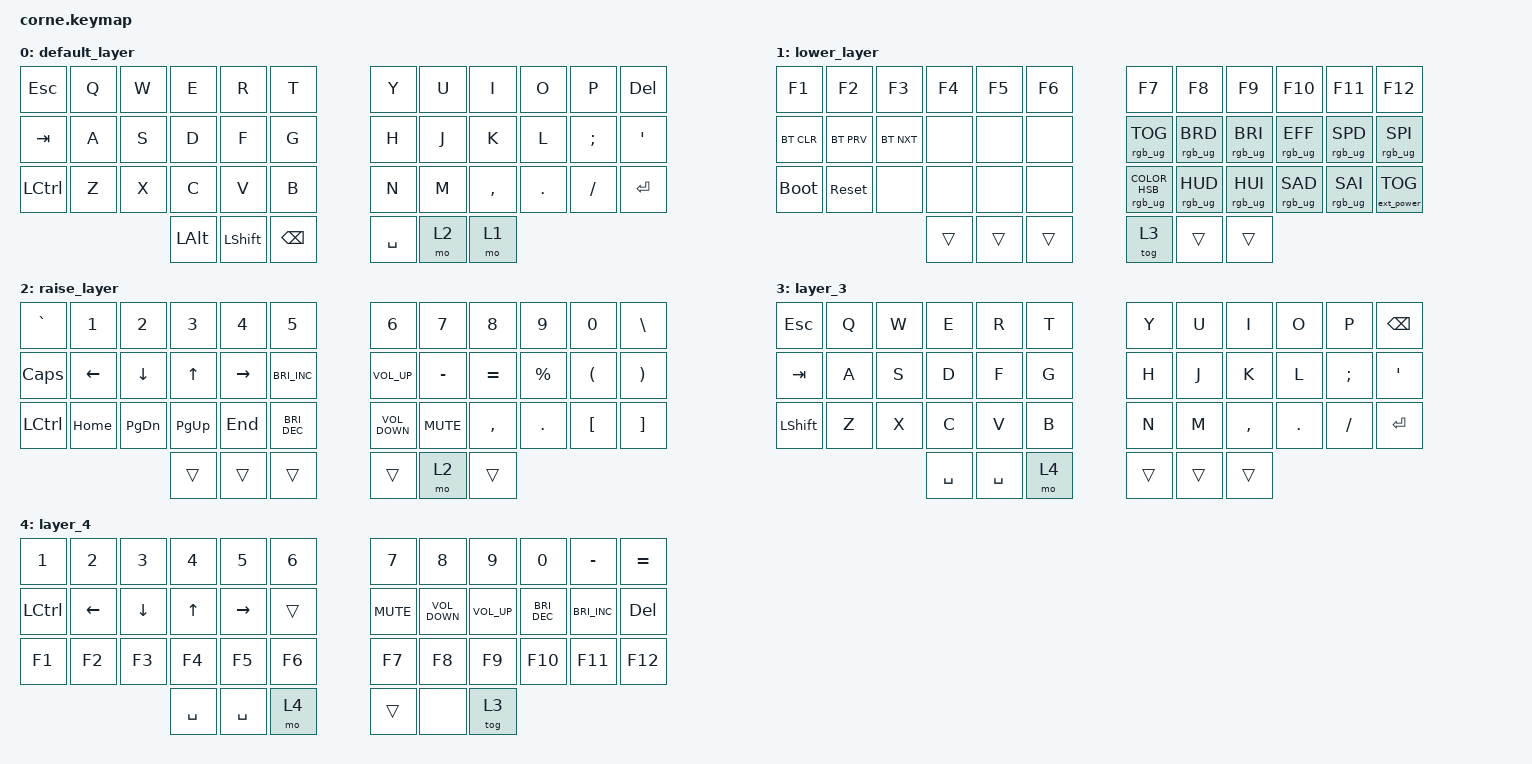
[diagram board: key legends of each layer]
/*
 * Copyright (c) 2020 The ZMK Contributors
 * 
 * SPDX-License-Identifier: MIT
 */

#include <behaviors.dtsi>
#include <dt-bindings/zmk/bt.h>
#include <dt-bindings/zmk/ext_power.h>
#include <dt-bindings/zmk/keys.h>
#include <dt-bindings/zmk/rgb.h>

/ {
    keymap {
        compatible = "zmk,keymap";

        default_layer {
            // -----------------------------------------------------------------------------------------
            // |  TAB |  Q  |  W  |  E  |  R  |  T  |   |  Y  |  U   |  I  |  O  |  P  | BKSP |
            // | CTRL |  A  |  S  |  D  |  F  |  G  |   |  H  |  J   |  K  |  L  |  ;  |  '   |
            // | SHFT |  Z  |  X  |  C  |  V  |  B  |   |  N  |  M   |  ,  |  .  |  /  | ESC  |
            //                    | GUI | LWR | SPC |   | ENT | RSE  | ALT |

            bindings = <
&kp ESCAPE        &kp Q  &kp W  &kp E     &kp R           &kp T            &kp Y      &kp U  &kp I      &kp O    &kp P     &kp DELETE
&kp TAB           &kp A  &kp S  &kp D     &kp F           &kp G            &kp H      &kp J  &kp K      &kp L    &kp SEMI  &kp SQT
&kp LEFT_CONTROL  &kp Z  &kp X  &kp C     &kp V           &kp B            &kp N      &kp M  &kp COMMA  &kp DOT  &kp FSLH  &kp ENTER
                                &kp LALT  &kp LEFT_SHIFT  &kp BACKSPACE    &kp SPACE  &mo 2  &mo 1
            >;
        };

        lower_layer {
            // -----------------------------------------------------------------------------------------
            // |  TAB |  1  |  2  |  3  |  4  |  5  |   |  6  |  7  |  8  |  9  |  0  | BKSP |
            // | BTCLR| BT1 | BT2 | BT3 | BT4 | BT5 |   | LFT | DWN |  UP | RGT |     |      |
            // | SHFT |     |     |     |     |     |   |     |     |     |     |     |      |
            //                    | GUI |     | SPC |   | ENT |     | ALT |

            bindings = <
&kp F1       &kp F2      &kp F3      &kp F4  &kp F5  &kp F6    &kp F7                          &kp F8           &kp F9           &kp F10          &kp F11          &kp F12
&bt BT_CLR   &bt BT_PRV  &bt BT_NXT  &none   &none   &none     &rgb_ug RGB_TOG                 &rgb_ug RGB_BRD  &rgb_ug RGB_BRI  &rgb_ug RGB_EFF  &rgb_ug RGB_SPD  &rgb_ug RGB_SPI
&bootloader  &sys_reset  &none       &none   &none   &none     &rgb_ug RGB_COLOR_HSB(0,91,50)  &rgb_ug RGB_HUD  &rgb_ug RGB_HUI  &rgb_ug RGB_SAD  &rgb_ug RGB_SAI  &ext_power EP_TOG
                                     &trans  &trans  &trans    &tog 3                          &trans           &trans
            >;
        };

        raise_layer {
            // -----------------------------------------------------------------------------------------
            // |  TAB |  !  |  @  |  #  |  $  |  %  |   |  ^  |  &  |  *  |  (  |  )  | BKSP |
            // | CTRL |     |     |     |     |     |   |  -  |  =  |  [  |  ]  |  \  |  `   |
            // | SHFT |     |     |     |     |     |   |  _  |  +  |  {  |  }  | "|" |  ~   |
            //                    | GUI |     | SPC |   | ENT |     | ALT |

            bindings = <
&kp GRAVE     &kp NUMBER_1    &kp NUMBER_2    &kp NUMBER_3  &kp NUMBER_4     &kp N5                  &kp NUMBER_6       &kp N7      &kp N8     &kp N9       &kp N0                &kp BACKSLASH
&kp CAPSLOCK  &kp LEFT_ARROW  &kp DOWN_ARROW  &kp UP_ARROW  &kp RIGHT_ARROW  &kp C_BRIGHTNESS_INC    &kp C_VOLUME_UP    &kp MINUS   &kp EQUAL  &kp PERCENT  &kp LEFT_PARENTHESIS  &kp RIGHT_PARENTHESIS
&kp LCTRL     &kp HOME        &kp PAGE_DOWN   &kp PAGE_UP   &kp END          &kp C_BRIGHTNESS_DEC    &kp C_VOLUME_DOWN  &kp K_MUTE  &kp COMMA  &kp PERIOD   &kp LEFT_BRACKET      &kp RIGHT_BRACKET
                                              &trans        &trans           &trans                  &trans             &mo 2       &trans
            >;
        };

        layer_3 {
            bindings = <
&kp ESC    &kp Q  &kp W  &kp E      &kp R      &kp T    &kp Y   &kp U   &kp I      &kp O    &kp P     &kp BSPC
&kp TAB    &kp A  &kp S  &kp D      &kp F      &kp G    &kp H   &kp J   &kp K      &kp L    &kp SEMI  &kp SQT
&kp LSHFT  &kp Z  &kp X  &kp C      &kp V      &kp B    &kp N   &kp M   &kp COMMA  &kp DOT  &kp FSLH  &kp RET
                         &kp SPACE  &kp SPACE  &mo 4    &trans  &trans  &trans
            >;
        };

        layer_4 {
            bindings = <
&kp N1            &kp N2    &kp N3    &kp N4     &kp N5     &kp N6    &kp N7      &kp N8             &kp N9           &kp N0                &kp MINUS             &kp EQUAL
&kp LEFT_CONTROL  &kp LEFT  &kp DOWN  &kp UP     &kp RIGHT  &trans    &kp K_MUTE  &kp C_VOLUME_DOWN  &kp C_VOLUME_UP  &kp C_BRIGHTNESS_DEC  &kp C_BRIGHTNESS_INC  &kp DEL
&kp F1            &kp F2    &kp F3    &kp F4     &kp F5     &kp F6    &kp F7      &kp F8             &kp F9           &kp F10               &kp F11               &kp F12
                                      &kp SPACE  &kp SPACE  &mo 4     &trans      &none              &tog 3
            >;
        };
    };
};

&led_strip {
    chain-length = <27>;
};

nice_view_spi: &spi0 {
    cs-gpios = <&pro_micro 0 GPIO_ACTIVE_HIGH>;
};
